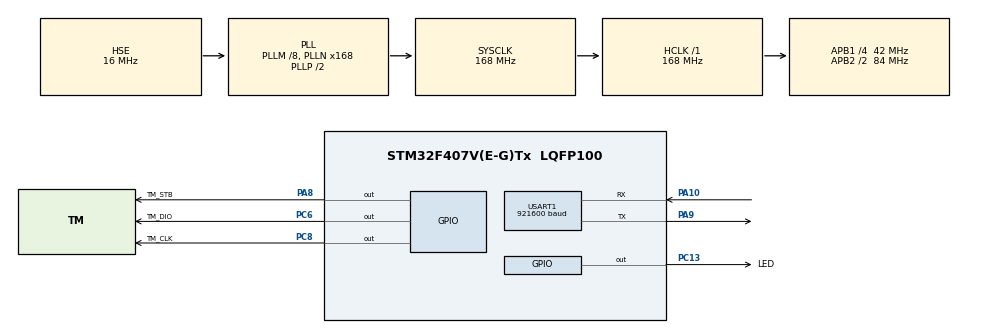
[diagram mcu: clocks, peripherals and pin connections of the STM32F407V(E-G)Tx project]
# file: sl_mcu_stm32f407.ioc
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Mcu.Family=STM32F4
Mcu.Name=STM32F407V(E-G)Tx
Mcu.Package=LQFP100
NVIC.PriorityGroup=NVIC_PRIORITYGROUP_4
PA10.Mode=Asynchronous
PA10.Signal=USART1_RX
PA13.Mode=Trace_Asynchronous_SW
PA13.Signal=SYS_JTMS-SWDIO
PA14.Mode=Trace_Asynchronous_SW
PA14.Signal=SYS_JTCK-SWCLK
PA8.GPIO_Label=TM_STB
PA8.GPIO_ModeDefaultOutputPP=GPIO_MODE_OUTPUT_OD
PA8.GPIO_PuPd=GPIO_NOPULL
PA8.GPIO_Speed=GPIO_SPEED_FREQ_HIGH
PA8.PinState=GPIO_PIN_SET
PA8.Signal=GPIO_Output
PA9.Mode=Asynchronous
PA9.Signal=USART1_TX
PB3.Mode=Trace_Asynchronous_SW
PB3.Signal=SYS_JTDO-SWO
PC13-ANTI_TAMP.GPIO_Label=LED
PC13-ANTI_TAMP.GPIO_ModeDefaultOutputPP=GPIO_MODE_OUTPUT_OD
PC13-ANTI_TAMP.GPIO_PuPd=GPIO_NOPULL
PC13-ANTI_TAMP.PinState=GPIO_PIN_SET
PC13-ANTI_TAMP.Signal=GPIO_Output
PC6.GPIO_Label=TM_DIO
PC6.GPIO_ModeDefaultOutputPP=GPIO_MODE_OUTPUT_OD
PC6.GPIO_PuPd=GPIO_NOPULL
PC6.GPIO_Speed=GPIO_SPEED_FREQ_HIGH
PC6.PinState=GPIO_PIN_SET
PC6.Signal=GPIO_Output
PC8.GPIO_Label=TM_CLK
PC8.GPIO_ModeDefaultOutputPP=GPIO_MODE_OUTPUT_OD
PC8.GPIO_PuPd=GPIO_NOPULL
PC8.GPIO_Speed=GPIO_SPEED_FREQ_HIGH
PC8.PinState=GPIO_PIN_SET
PC8.Signal=GPIO_Output
PH0-OSC_IN.Mode=HSE-External-Oscillator
PH0-OSC_IN.Signal=RCC_OSC_IN
PH1-OSC_OUT.Mode=HSE-External-Oscillator
PH1-OSC_OUT.Signal=RCC_OSC_OUT
ProjectManager.HeapSize=0x200
ProjectManager.StackSize=0x400
ProjectManager.TargetToolchain=STM32CubeIDE
RCC.48MHZClocksFreq_Value=84000000
RCC.AHBFreq_Value=168000000
RCC.APB1CLKDivider=RCC_HCLK_DIV4
RCC.APB1Freq_Value=42000000
RCC.APB1TimFreq_Value=84000000
RCC.APB2CLKDivider=RCC_HCLK_DIV2
RCC.APB2Freq_Value=84000000
RCC.APB2TimFreq_Value=168000000
RCC.CortexFreq_Value=168000000
RCC.HCLKFreq_Value=168000000
RCC.HSE_VALUE=16000000
RCC.HSI_VALUE=16000000
RCC.LSE_VALUE=32768
RCC.PLLM=8
RCC.PLLN=168
RCC.PLLSourceVirtual=RCC_PLLSOURCE_HSE
RCC.SYSCLKFreq_VALUE=168000000
RCC.SYSCLKSource=RCC_SYSCLKSOURCE_PLLCLK
RCC.VCOOutputFreq_Value=336000000
USART1.BaudRate=921600
USART1.VirtualMode=VM_ASYNC
board=custom

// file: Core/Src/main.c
/* USER CODE BEGIN Header */
/**
 ******************************************************************************
 * @file           : main.c
 * @brief          : Main program body
 ******************************************************************************
 * @attention
 *
 * Copyright (c) 2026 STM32World <lth@stm32world.com>
 * All rights reserved.
 *
 * This software is licensed under terms that can be found in the LICENSE file
 * in the root directory of this software component.
 * If no LICENSE file comes with this software, it is provided AS-IS.
 *
 ******************************************************************************
 */
/* USER CODE END Header */
#include "main.h"

/* USER CODE BEGIN Includes */
#include <stdio.h>
#include "tm1638.h"
/* USER CODE END Includes */

UART_HandleTypeDef huart1;

/* USER CODE BEGIN PV */
// Create TM1638 instance
tm1638_handle_t tm = {0};

// Configure pins

/* USER CODE END PV */

void SystemClock_Config(void);
static void MX_GPIO_Init(void);
static void MX_USART1_UART_Init(void);

/* USER CODE BEGIN 0 */

// Send printf to uart1
int __io_putchar(int ch) {
    if (ch == '\n') {
        HAL_UART_Transmit(&huart1, (uint8_t*) "\r", 1, HAL_MAX_DELAY);
    }
    if (HAL_UART_Transmit(&huart1, (uint8_t*) &ch, 1, HAL_MAX_DELAY)
            != HAL_OK) {
        return -1;
    }
    return ch;
}

/* USER CODE END 0 */

int main(void) {

    /* MCU Configuration--------------------------------------------------------*/

    /* Reset of all peripherals, Initializes the Flash interface and the Systick. */
    HAL_Init();

    /* Configure the system clock */
    SystemClock_Config();

    /* Initialize all configured peripherals */
    MX_GPIO_Init();
    MX_USART1_UART_Init();
    /* USER CODE BEGIN 2 */

    printf("\n\n\nStarting TM1638 Demo\n");

    tm1638_init(&tm, TM_CLK_GPIO_Port, TM_CLK_Pin, TM_DIO_GPIO_Port, TM_DIO_Pin, TM_STB_GPIO_Port, TM_STB_Pin, 5); // Brightness 0-7
    tm1638_display_clear(&tm);

    tm1638_display_txt(&tm, "0");

    tm1638_set_led(&tm, 3, 1);

    /* USER CODE END 2 */

    /* Infinite loop */
    /* USER CODE BEGIN WHILE */

    uint32_t now, loop_cnt = 0, next_blink = 500, next_tick = 1000, next_num = 100, led_num = 1;

    uint8_t buttons = 0;

    while (1) {

        now = uwTick;

        if (now >= next_num) {
            char buf[9];

            sprintf(buf, "%lu", now / 100);
            tm1638_display_txt(&tm, buf);

            next_num = now + 100;

            buttons = tm1638_scan_buttons(&tm);

        }

        if (now >= next_blink) {
            HAL_GPIO_TogglePin(LED_GPIO_Port, LED_Pin);
            next_blink = now + 500;
        }

        if (now >= next_tick) {

            for (int i = 1; i <= 8; ++i) {
                tm1638_set_led(&tm, i, 0);
            }

            tm1638_set_led(&tm, led_num, 1);

            printf("Tick %lu (loop = %lu btn = %d)\n", now / 1000, loop_cnt,
                    buttons);

            ++led_num;
            if (led_num > 8)
                led_num = 1;
            loop_cnt = 0;
            next_tick = now + 1000;
        }

        ++loop_cnt;

        /* USER CODE END WHILE */

    }
}

void SystemClock_Config(void) {
    RCC_OscInitTypeDef RCC_OscInitStruct = { 0 };
    RCC_ClkInitTypeDef RCC_ClkInitStruct = { 0 };

    /** Configure the main internal regulator output voltage
     */
    __HAL_RCC_PWR_CLK_ENABLE();
    __HAL_PWR_VOLTAGESCALING_CONFIG(PWR_REGULATOR_VOLTAGE_SCALE1);

    /** Initializes the RCC Oscillators according to the specified parameters
     * in the RCC_OscInitTypeDef structure.
     */
    RCC_OscInitStruct.OscillatorType = RCC_OSCILLATORTYPE_HSE;
    RCC_OscInitStruct.HSEState = RCC_HSE_ON;
    RCC_OscInitStruct.PLL.PLLState = RCC_PLL_ON;
    RCC_OscInitStruct.PLL.PLLSource = RCC_PLLSOURCE_HSE;
    RCC_OscInitStruct.PLL.PLLM = 8;
    RCC_OscInitStruct.PLL.PLLN = 168;
    RCC_OscInitStruct.PLL.PLLP = RCC_PLLP_DIV2;
    RCC_OscInitStruct.PLL.PLLQ = 4;
    if (HAL_RCC_OscConfig(&RCC_OscInitStruct) != HAL_OK) {
        Error_Handler();
    }

    /** Initializes the CPU, AHB and APB buses clocks
     */
    RCC_ClkInitStruct.ClockType = RCC_CLOCKTYPE_HCLK | RCC_CLOCKTYPE_SYSCLK
            | RCC_CLOCKTYPE_PCLK1 | RCC_CLOCKTYPE_PCLK2;
    RCC_ClkInitStruct.SYSCLKSource = RCC_SYSCLKSOURCE_PLLCLK;
    RCC_ClkInitStruct.AHBCLKDivider = RCC_SYSCLK_DIV1;
    RCC_ClkInitStruct.APB1CLKDivider = RCC_HCLK_DIV4;
    RCC_ClkInitStruct.APB2CLKDivider = RCC_HCLK_DIV2;

    if (HAL_RCC_ClockConfig(&RCC_ClkInitStruct, FLASH_LATENCY_5) != HAL_OK) {
        Error_Handler();
    }
}

static void MX_USART1_UART_Init(void) {

    huart1.Instance = USART1;
    huart1.Init.BaudRate = 921600;
    huart1.Init.WordLength = UART_WORDLENGTH_8B;
    huart1.Init.StopBits = UART_STOPBITS_1;
    huart1.Init.Parity = UART_PARITY_NONE;
    huart1.Init.Mode = UART_MODE_TX_RX;
    huart1.Init.HwFlowCtl = UART_HWCONTROL_NONE;
    huart1.Init.OverSampling = UART_OVERSAMPLING_16;
    if (HAL_UART_Init(&huart1) != HAL_OK) {
        Error_Handler();
    }

}

static void MX_GPIO_Init(void) {
    GPIO_InitTypeDef GPIO_InitStruct = { 0 };

    /* GPIO Ports Clock Enable */
    __HAL_RCC_GPIOC_CLK_ENABLE();
    __HAL_RCC_GPIOH_CLK_ENABLE();
    __HAL_RCC_GPIOA_CLK_ENABLE();
    __HAL_RCC_GPIOB_CLK_ENABLE();

    /*Configure GPIO pin Output Level */
    HAL_GPIO_WritePin(GPIOC, LED_Pin | TM_DIO_Pin | TM_CLK_Pin, GPIO_PIN_SET);

    /*Configure GPIO pin Output Level */
    HAL_GPIO_WritePin(TM_STB_GPIO_Port, TM_STB_Pin, GPIO_PIN_SET);

    /*Configure GPIO pin : LED_Pin */
    GPIO_InitStruct.Pin = LED_Pin;
    GPIO_InitStruct.Mode = GPIO_MODE_OUTPUT_OD;
    GPIO_InitStruct.Pull = GPIO_NOPULL;
    GPIO_InitStruct.Speed = GPIO_SPEED_FREQ_LOW;
    HAL_GPIO_Init(LED_GPIO_Port, &GPIO_InitStruct);

    /*Configure GPIO pins : TM_DIO_Pin TM_CLK_Pin */
    GPIO_InitStruct.Pin = TM_DIO_Pin | TM_CLK_Pin;
    GPIO_InitStruct.Mode = GPIO_MODE_OUTPUT_OD;
    GPIO_InitStruct.Pull = GPIO_NOPULL;
    GPIO_InitStruct.Speed = GPIO_SPEED_FREQ_HIGH;
    HAL_GPIO_Init(GPIOC, &GPIO_InitStruct);

    /*Configure GPIO pin : TM_STB_Pin */
    GPIO_InitStruct.Pin = TM_STB_Pin;
    GPIO_InitStruct.Mode = GPIO_MODE_OUTPUT_OD;
    GPIO_InitStruct.Pull = GPIO_NOPULL;
    GPIO_InitStruct.Speed = GPIO_SPEED_FREQ_HIGH;
    HAL_GPIO_Init(TM_STB_GPIO_Port, &GPIO_InitStruct);

}

void Error_Handler(void) {
    __disable_irq();
    while (1) {
    }
}
